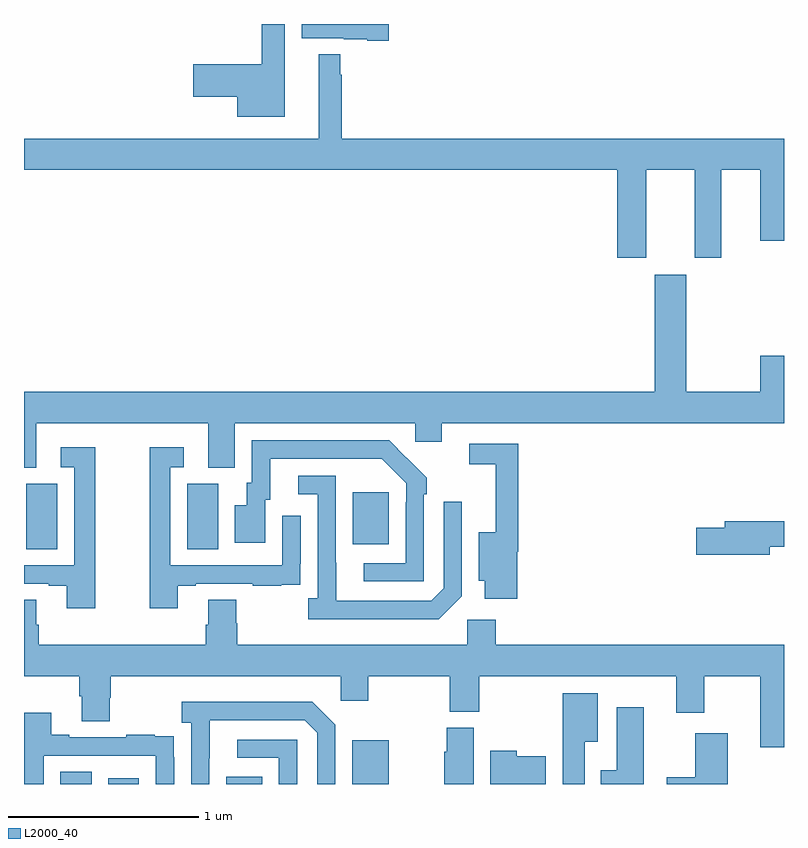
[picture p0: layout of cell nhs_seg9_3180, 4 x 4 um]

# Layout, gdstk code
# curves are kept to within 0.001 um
import gdstk
lib = gdstk.Library(unit=1e-6, precision=1e-09)
def R(c, l, rs):  # rectangles x0, y0, x1, y1
    for r in rs: c.add(gdstk.rectangle(r[:2], r[2:], *l))
def P(c, l, *ps):  # polygons
    for p in ps: c.add(gdstk.Polygon(p, *l))
L2000_40 = (2000, 40)

nhs_seg9_3180 = lib.new_cell('nhs_seg9_3180')
R(nhs_seg9_3180, L2000_40, [(293.192,1214.5,293.356,1214.564), (293.444,1214.5,293.605,1214.53), (294.065,1214.5,294.253,1214.539), (294.728,1214.5,294.92,1214.731), (293.012,1215.736,293.176,1216.08), (293.858,1215.736,294.022,1216.08), (294.731,1215.761,294.919,1216.036)])
P(nhs_seg9_3180, L2000_40, [(294.373,1218.5),(294.252,1218.5),(294.252,1218.287),(293.892,1218.287),(293.892,1218.116),(294.122,1218.116),(294.122,1218.011),(294.373,1218.011)],
  [(294.919,1218.5),(294.461,1218.5),(294.461,1218.425),(294.684,1218.425),(294.684,1218.419),(294.806,1218.419),(294.806,1218.413),(294.919,1218.413)],
  [(296.275,1217.732),(296.531,1217.732),(296.531,1217.271),(296.671,1217.271),(296.671,1217.732),(296.876,1217.732),(296.876,1217.358),(297,1217.358),(297,1217.896),(294.673,1217.896),(294.673,1218.233),(294.665,1218.233),(294.665,1218.34),(294.551,1218.34),(294.551,1217.896),(293,1217.896),(293,1217.732),(296.123,1217.732),(296.123,1217.271),(296.275,1217.271)],
  [(297,1216.753),(296.876,1216.753),(296.876,1216.564),(296.485,1216.564),(296.485,1217.179),(296.321,1217.179),(296.321,1216.564),(293,1216.564),(293,1216.165),(293.065,1216.165),(293.065,1216.4),(293.969,1216.4),(293.969,1216.165),(294.109,1216.165),(294.109,1216.4),(295.059,1216.4),(295.059,1216.302),(295.198,1216.302),(295.198,1216.4),(297,1216.4)],
  [(295.104,1216.025),(295.119,1216.025),(295.119,1216.113),(294.922,1216.308),(294.198,1216.308),(294.198,1216.086),(294.173,1216.086),(294.173,1215.967),(294.11,1215.967),(294.11,1215.771),(294.271,1215.771),(294.271,1215.996),(294.295,1215.996),(294.295,1216.212),(294.883,1216.212),(295.011,1216.083),(295.011,1215.983),(295.008,1215.983),(295.008,1215.663),(294.789,1215.663),(294.789,1215.567),(295.104,1215.567)],
  [(295.595,1215.722),(295.601,1215.722),(295.601,1216.29),(295.344,1216.29),(295.344,1216.182),(295.484,1216.182),(295.484,1215.826),(295.394,1215.826),(295.394,1215.569),(295.424,1215.569),(295.424,1215.474),(295.595,1215.474)],
  [(293.809,1215.543),(293.905,1215.543),(293.905,1215.555),(294.205,1215.555),(294.205,1215.543),(294.353,1215.543),(294.353,1215.549),(294.455,1215.549),(294.455,1215.658),(294.456,1215.658),(294.456,1215.913),(294.36,1215.913),(294.36,1215.651),(293.769,1215.651),(293.769,1216.167),(293.842,1216.167),(293.842,1216.273),(293.661,1216.273),(293.661,1215.426),(293.809,1215.426)],
  [(293.374,1216.273),(293.193,1216.273),(293.193,1216.167),(293.265,1216.167),(293.265,1215.651),(293,1215.651),(293,1215.555),(293.129,1215.555),(293.129,1215.543),(293.225,1215.543),(293.225,1215.426),(293.374,1215.426)],
  [(295.305,1215.489),(295.305,1215.985),(295.209,1215.985),(295.209,1215.531),(295.143,1215.465),(294.643,1215.465),(294.642,1216.122),(294.444,1216.122),(294.444,1216.026),(294.546,1216.026),(294.546,1215.478),(294.495,1215.478),(294.495,1215.368),(295.184,1215.368)],
  [(296.926,1215.748),(297,1215.748),(297,1215.884),(296.687,1215.884),(296.687,1215.848),(296.538,1215.848),(296.538,1215.706),(296.926,1215.706)],
  [(297,1215.232),(295.484,1215.232),(295.484,1215.364),(295.332,1215.364),(295.332,1215.232),(294.122,1215.232),(294.122,1215.345),(294.117,1215.345),(294.117,1215.47),(293.969,1215.47),(293.969,1215.338),(293.957,1215.338),(293.957,1215.232),(293.078,1215.232),(293.078,1215.338),(293.065,1215.338),(293.065,1215.47),(293,1215.47),(293,1215.068),(293.291,1215.068),(293.291,1214.962),(293.303,1214.962),(293.303,1214.83),(293.451,1214.83),(293.451,1214.955),(293.456,1214.955),(293.456,1215.068),(294.666,1215.068),(294.666,1214.937),(294.813,1214.937),(294.813,1215.068),(295.24,1215.068),(295.24,1214.881),(295.395,1214.881),(295.395,1215.068),(296.432,1215.068),(296.432,1214.874),(296.58,1214.874),(296.58,1215.068),(296.876,1215.068),(296.876,1214.694),(297,1214.694)],
  [(295.951,1214.723),(296.02,1214.723),(296.02,1214.977),(295.835,1214.977),(295.835,1214.5),(295.951,1214.5)],
  [(293.976,1214.635),(293.977,1214.835),(294.477,1214.835),(294.543,1214.769),(294.543,1214.5),(294.639,1214.5),(294.639,1214.811),(294.518,1214.932),(293.829,1214.932),(293.829,1214.822),(293.88,1214.822),(293.88,1214.5),(293.976,1214.5)],
  [(296.263,1214.905),(296.12,1214.905),(296.12,1214.572),(296.036,1214.572),(296.036,1214.5),(296.263,1214.5)],
  [(293.103,1214.649),(293.694,1214.649),(293.694,1214.5),(293.79,1214.5),(293.79,1214.642),(293.789,1214.642),(293.789,1214.751),(293.687,1214.751),(293.687,1214.758),(293.539,1214.758),(293.539,1214.745),(293.239,1214.745),(293.239,1214.758),(293.143,1214.758),(293.143,1214.875),(293,1214.875),(293,1214.5),(293.103,1214.5)],
  [(295.366,1214.796),(295.225,1214.796),(295.225,1214.67),(295.211,1214.67),(295.211,1214.5),(295.366,1214.5)],
  [(296.704,1214.767),(296.534,1214.767),(296.534,1214.535),(296.382,1214.535),(296.382,1214.5),(296.704,1214.5)],
  [(294.438,1214.733),(294.123,1214.733),(294.123,1214.637),(294.342,1214.637),(294.342,1214.5),(294.438,1214.5)],
  [(295.747,1214.647),(295.593,1214.647),(295.593,1214.674),(295.454,1214.674),(295.454,1214.5),(295.747,1214.5)])

lib.write_gds('nhs_seg9_3180.gds')
